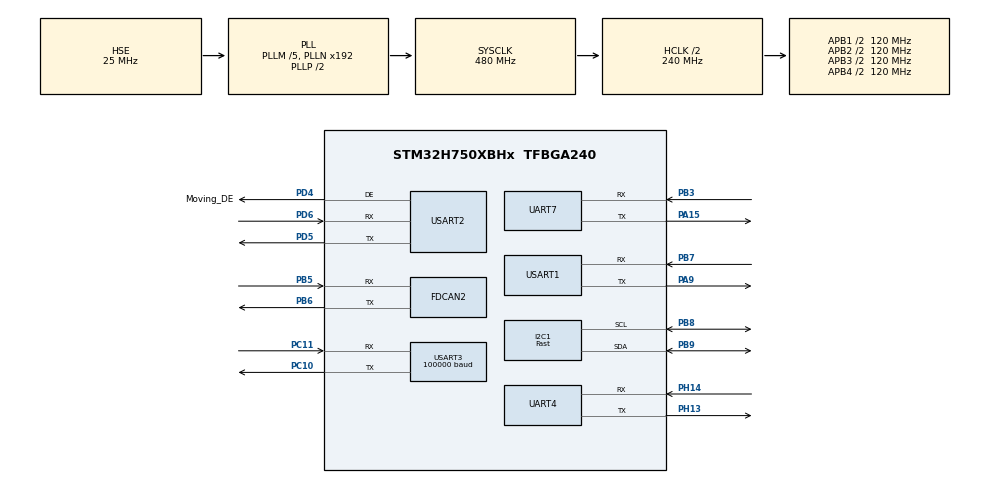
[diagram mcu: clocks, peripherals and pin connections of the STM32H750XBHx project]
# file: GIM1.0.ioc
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CORTEX_M7.default_mode_Activation=1
Dma.Request0=USART3_RX
Dma.USART3_RX.0.Direction=DMA_PERIPH_TO_MEMORY
Dma.USART3_RX.0.EventEnable=DISABLE
Dma.USART3_RX.0.FIFOMode=DMA_FIFOMODE_DISABLE
Dma.USART3_RX.0.Instance=DMA1_Stream0
Dma.USART3_RX.0.MemDataAlignment=DMA_MDATAALIGN_BYTE
Dma.USART3_RX.0.MemInc=DMA_MINC_ENABLE
Dma.USART3_RX.0.Mode=DMA_CIRCULAR
Dma.USART3_RX.0.PeriphDataAlignment=DMA_PDATAALIGN_BYTE
Dma.USART3_RX.0.PeriphInc=DMA_PINC_DISABLE
Dma.USART3_RX.0.Polarity=HAL_DMAMUX_REQ_GEN_RISING
Dma.USART3_RX.0.Priority=DMA_PRIORITY_VERY_HIGH
Dma.USART3_RX.0.RequestNumber=1
Dma.USART3_RX.0.SignalID=NONE
Dma.USART3_RX.0.SyncEnable=DISABLE
Dma.USART3_RX.0.SyncPolarity=HAL_DMAMUX_SYNC_NO_EVENT
Dma.USART3_RX.0.SyncRequestNumber=1
Dma.USART3_RX.0.SyncSignalID=NONE
FDCAN2.CalculateBaudRateNominal=500000
FDCAN2.CalculateTimeBitNominal=2000
FDCAN2.CalculateTimeQuantumNominal=100.0
FDCAN2.DataPrescaler=12
FDCAN2.DataTimeSeg1=15
FDCAN2.DataTimeSeg2=4
FDCAN2.NominalPrescaler=12
FDCAN2.NominalTimeSeg1=15
FDCAN2.NominalTimeSeg2=4
FDCAN2.RxFifo0ElmtsNbr=8
FDCAN2.StdFiltersNbr=1
FDCAN2.TxFifoQueueElmtsNbr=8
I2C1.I2C_Fall_Time=300
I2C1.I2C_Rise_Time=300
I2C1.I2C_Speed_Mode=I2C_Fast
I2C1.Timing=0x30B70F24
Mcu.Family=STM32H7
Mcu.Name=STM32H750XBHx
Mcu.Package=TFBGA240
NVIC.DMA1_Stream0_IRQn=true\:0\:0\:false\:false\:true\:false\:true\:true
NVIC.FDCAN2_IT0_IRQn=true\:0\:0\:false\:false\:true\:true\:true\:true
NVIC.FDCAN2_IT1_IRQn=true\:0\:0\:false\:false\:true\:true\:true\:true
NVIC.PriorityGroup=NVIC_PRIORITYGROUP_4
NVIC.UART4_IRQn=true\:0\:0\:false\:false\:true\:true\:true\:true
NVIC.UART7_IRQn=true\:0\:0\:false\:false\:true\:true\:true\:true
NVIC.USART1_IRQn=true\:0\:0\:false\:false\:true\:true\:true\:true
NVIC.USART3_IRQn=true\:0\:0\:false\:false\:true\:true\:true\:true
PA13\ (JTMS/SWDIO).Mode=Serial_Wire
PA13\ (JTMS/SWDIO).Signal=DEBUG_JTMS-SWDIO
PA14\ (JTCK/SWCLK).Mode=Serial_Wire
PA14\ (JTCK/SWCLK).Signal=DEBUG_JTCK-SWCLK
PA15\ (JTDI).Mode=Asynchronous
PA15\ (JTDI).Signal=UART7_TX
PA9.Mode=Asynchronous
PA9.Signal=USART1_TX
PB3\ (JTDO/TRACESWO).Mode=Asynchronous
PB3\ (JTDO/TRACESWO).Signal=UART7_RX
PB5.Mode=FDCAN_Activate
PB5.Signal=FDCAN2_RX
PB6.Mode=FDCAN_Activate
PB6.Signal=FDCAN2_TX
PB7.Mode=Asynchronous
PB7.Signal=USART1_RX
PB8.Mode=I2C
PB8.Signal=I2C1_SCL
PB9.Mode=I2C
PB9.Signal=I2C1_SDA
PC10.Mode=Asynchronous
PC10.Signal=USART3_TX
PC11.Mode=Asynchronous
PC11.Signal=USART3_RX
PC14-OSC32_IN\ (OSC32_IN).Mode=LSE-External-Oscillator
PC14-OSC32_IN\ (OSC32_IN).Signal=RCC_OSC32_IN
PC15-OSC32_OUT\ (OSC32_OUT).Mode=LSE-External-Oscillator
PC15-OSC32_OUT\ (OSC32_OUT).Signal=RCC_OSC32_OUT
PD4.GPIO_Label=Moving_DE
PD4.Mode=Hardware Flow Control (RS485)
PD4.Signal=USART2_DE
PD5.Mode=Asynchronous
PD5.Signal=USART2_TX
PD6.Mode=Asynchronous
PD6.Signal=USART2_RX
PH0-OSC_IN\ (PH0).Mode=HSE-External-Oscillator
PH0-OSC_IN\ (PH0).Signal=RCC_OSC_IN
PH1-OSC_OUT\ (PH1).Mode=HSE-External-Oscillator
PH1-OSC_OUT\ (PH1).Signal=RCC_OSC_OUT
PH13.Mode=Asynchronous
PH13.Signal=UART4_TX
PH14.Mode=Asynchronous
PH14.Signal=UART4_RX
ProjectManager.HeapSize=0x200
ProjectManager.StackSize=0x400
ProjectManager.TargetToolchain=MDK-ARM V5.32
RCC.ADCFreq_Value=50390625
RCC.APB1Freq_Value=120000000
RCC.APB2Freq_Value=120000000
RCC.APB3Freq_Value=120000000
RCC.APB4Freq_Value=120000000
RCC.CortexFreq_Value=480000000
RCC.D1PPRE=RCC_APB3_DIV2
RCC.D2PPRE1=RCC_APB1_DIV2
RCC.D2PPRE2=RCC_APB2_DIV2
RCC.D3PPRE=RCC_APB4_DIV2
RCC.DIVM1=5
RCC.DIVN1=192
RCC.DIVQ1=8
RCC.HCLKFreq_Value=240000000
RCC.HPRE=RCC_HCLK_DIV2
RCC.PLL2FRACN=0
RCC.PLL3FRACN=0
RCC.PLLFRACN=0
RCC.PLLSourceVirtual=RCC_PLLSOURCE_HSE
RCC.SYSCLKFreq_VALUE=480000000
RCC.SYSCLKSource=RCC_SYSCLKSOURCE_PLLCLK
RCC.USBFreq_Value=120000000
USART1.VirtualMode-Asynchronous=VM_ASYNC
USART2.VirtualMode-Asynchronous=VM_ASYNC
USART2.VirtualMode-Hardware\ Flow\ Control\ (RS485)=VM_ASYNC
USART3.BaudRate=100000
USART3.Parity=PARITY_EVEN
USART3.StopBits=STOPBITS_2
USART3.VirtualMode-Asynchronous=VM_ASYNC
USART3.WordLength=WORDLENGTH_9B
VP_MEMORYMAP_VS_MEMORYMAP.Mode=CurAppReg
board=custom

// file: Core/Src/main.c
/* USER CODE BEGIN Header */
/**
  ******************************************************************************
  * @file           : main.c
  * @brief          : Main program body
  ******************************************************************************
  * @attention
  *
  * Copyright (c) 2025 STMicroelectronics.
  * All rights reserved.
  *
  * This software is licensed under terms that can be found in the LICENSE file
  * in the root directory of this software component.
  * If no LICENSE file comes with this software, it is provided AS-IS.
  *
  ******************************************************************************
  */
/* USER CODE END Header */
#include "main.h"
#include "dma.h"
#include "fdcan.h"
#include "i2c.h"
#include "usart.h"
#include "gpio.h"

/* USER CODE BEGIN Includes */

uint32_t last_control_time = 0;
extern volatile uint8_t sbus_data_ready;
extern uint8_t Rxdata[25];
extern DMA_HandleTypeDef hdma_usart3_rx;
/* USER CODE END Includes */

/* USER CODE BEGIN PV */
	// extern MW_CONTROL_ESTIMATES MWControlAngel;
/* USER CODE END PV */

void SystemClock_Config(void);
static void MPU_Config(void);

int main(void)
{

  /* MPU Configuration--------------------------------------------------------*/
  MPU_Config();

  /* MCU Configuration--------------------------------------------------------*/

  /* Reset of all peripherals, Initializes the Flash interface and the Systick. */
  HAL_Init();

  /* Configure the system clock */
  SystemClock_Config();

  /* Initialize all configured peripherals */
  MX_GPIO_Init();
  MX_DMA_Init();
  MX_FDCAN2_Init();
  MX_USART3_UART_Init();
  MX_USART2_UART_Init();
  MX_USART1_UART_Init();
  MX_I2C1_Init();
  MX_UART4_Init();
  MX_UART7_Init();
  /* USER CODE BEGIN 2 */

  MWMode_Init();                // MW电机初始化
  Motor_SystemInit();           // DD115S电机初始化
  RCInit();                     // 遥控器初始化
  UGVControlInit();            // 运动控制初始化

  HAL_UARTEx_ReceiveToIdle_DMA(&huart3, Rxdata, sizeof(Rxdata));
  __HAL_DMA_DISABLE_IT(&hdma_usart3_rx, DMA_IT_HT);

  MWPowerOnReturnAll();
  HAL_Delay(3000);  // 等待回正完成

  /* USER CODE END 2 */

  /* Infinite loop */
  /* USER CODE BEGIN WHILE */

	// MWMode_Init();
//  MWPowerOnReturnAdvanced_VelMode();

  while (1)
  {

	  // 主控制循环 - 50Hz
    if (HAL_GetTick() - last_control_time >= 20)
    {
      last_control_time = HAL_GetTick();

      // 1. 检查遥控器连接
      RCCheckConnection();

      // 2. 处理SBUS数据
      if (sbus_data_ready)
      {
        sbus_data_ready = 0;
        RCGetValue();  // 包含复位处理
      }

      // 3. 执行运动控制解算
      ControlLoop_Init();
    }

    /* USER CODE END WHILE */

  }
}

void SystemClock_Config(void)
{
  RCC_OscInitTypeDef RCC_OscInitStruct = {0};
  RCC_ClkInitTypeDef RCC_ClkInitStruct = {0};

  /** Supply configuration update enable
  */
  HAL_PWREx_ConfigSupply(PWR_LDO_SUPPLY);

  /** Configure the main internal regulator output voltage
  */
  __HAL_PWR_VOLTAGESCALING_CONFIG(PWR_REGULATOR_VOLTAGE_SCALE0);

  while(!__HAL_PWR_GET_FLAG(PWR_FLAG_VOSRDY)) {}

  /** Initializes the RCC Oscillators according to the specified parameters
  * in the RCC_OscInitTypeDef structure.
  */
  RCC_OscInitStruct.OscillatorType = RCC_OSCILLATORTYPE_HSE;
  RCC_OscInitStruct.HSEState = RCC_HSE_ON;
  RCC_OscInitStruct.PLL.PLLState = RCC_PLL_ON;
  RCC_OscInitStruct.PLL.PLLSource = RCC_PLLSOURCE_HSE;
  RCC_OscInitStruct.PLL.PLLM = 5;
  RCC_OscInitStruct.PLL.PLLN = 192;
  RCC_OscInitStruct.PLL.PLLP = 2;
  RCC_OscInitStruct.PLL.PLLQ = 8;
  RCC_OscInitStruct.PLL.PLLR = 2;
  RCC_OscInitStruct.PLL.PLLRGE = RCC_PLL1VCIRANGE_2;
  RCC_OscInitStruct.PLL.PLLVCOSEL = RCC_PLL1VCOWIDE;
  RCC_OscInitStruct.PLL.PLLFRACN = 0;
  if (HAL_RCC_OscConfig(&RCC_OscInitStruct) != HAL_OK)
  {
    Error_Handler();
  }

  /** Initializes the CPU, AHB and APB buses clocks
  */
  RCC_ClkInitStruct.ClockType = RCC_CLOCKTYPE_HCLK|RCC_CLOCKTYPE_SYSCLK
                              |RCC_CLOCKTYPE_PCLK1|RCC_CLOCKTYPE_PCLK2
                              |RCC_CLOCKTYPE_D3PCLK1|RCC_CLOCKTYPE_D1PCLK1;
  RCC_ClkInitStruct.SYSCLKSource = RCC_SYSCLKSOURCE_PLLCLK;
  RCC_ClkInitStruct.SYSCLKDivider = RCC_SYSCLK_DIV1;
  RCC_ClkInitStruct.AHBCLKDivider = RCC_HCLK_DIV2;
  RCC_ClkInitStruct.APB3CLKDivider = RCC_APB3_DIV2;
  RCC_ClkInitStruct.APB1CLKDivider = RCC_APB1_DIV2;
  RCC_ClkInitStruct.APB2CLKDivider = RCC_APB2_DIV2;
  RCC_ClkInitStruct.APB4CLKDivider = RCC_APB4_DIV2;

  if (HAL_RCC_ClockConfig(&RCC_ClkInitStruct, FLASH_LATENCY_4) != HAL_OK)
  {
    Error_Handler();
  }
}

 /* MPU Configuration */

void MPU_Config(void)
{
  MPU_Region_InitTypeDef MPU_InitStruct = {0};

  /* Disables the MPU */
  HAL_MPU_Disable();

  /** Initializes and configures the Region and the memory to be protected
  */
  MPU_InitStruct.Enable = MPU_REGION_ENABLE;
  MPU_InitStruct.Number = MPU_REGION_NUMBER0;
  MPU_InitStruct.BaseAddress = 0x0;
  MPU_InitStruct.Size = MPU_REGION_SIZE_4GB;
  MPU_InitStruct.SubRegionDisable = 0x87;
  MPU_InitStruct.TypeExtField = MPU_TEX_LEVEL0;
  MPU_InitStruct.AccessPermission = MPU_REGION_NO_ACCESS;
  MPU_InitStruct.DisableExec = MPU_INSTRUCTION_ACCESS_DISABLE;
  MPU_InitStruct.IsShareable = MPU_ACCESS_SHAREABLE;
  MPU_InitStruct.IsCacheable = MPU_ACCESS_NOT_CACHEABLE;
  MPU_InitStruct.IsBufferable = MPU_ACCESS_NOT_BUFFERABLE;

  HAL_MPU_ConfigRegion(&MPU_InitStruct);
  /* Enables the MPU */
  HAL_MPU_Enable(MPU_PRIVILEGED_DEFAULT);

}

void Error_Handler(void)
{
  __disable_irq();
  while (1)
  {
  }
}
